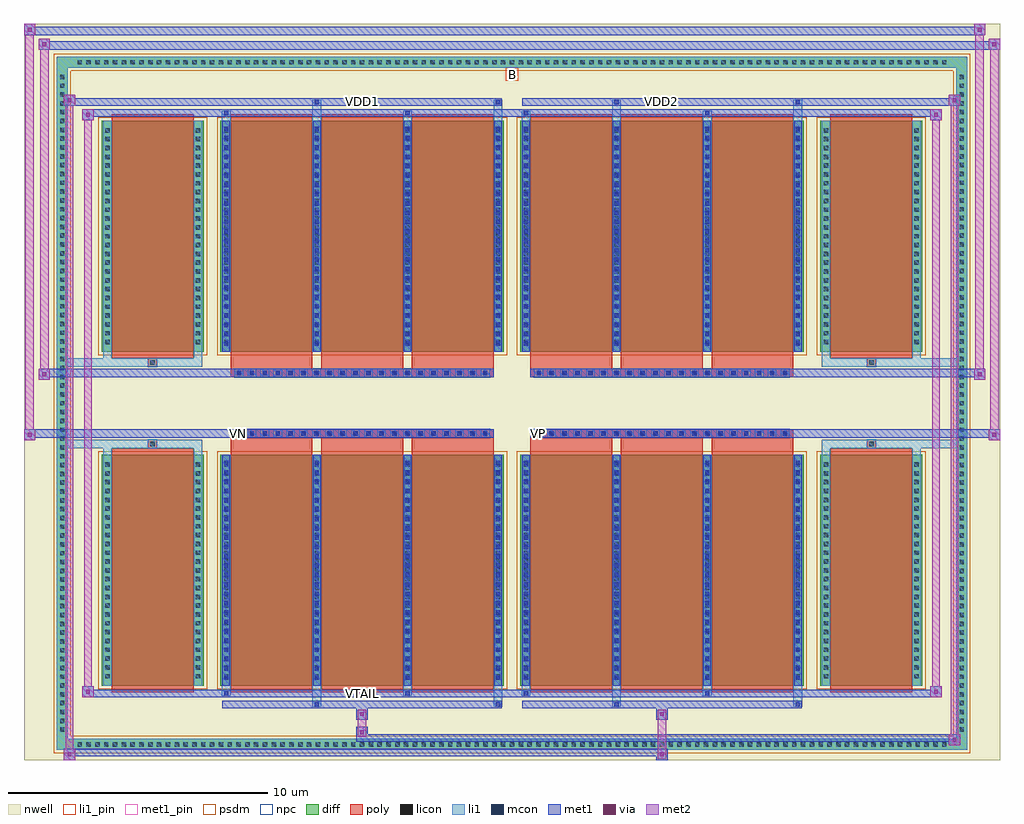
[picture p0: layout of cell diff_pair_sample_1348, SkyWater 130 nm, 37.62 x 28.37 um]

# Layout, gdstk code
import gdstk
lib = gdstk.Library(unit=1e-6, precision=5e-09)
def R(c, l, rs):  # rectangles x0, y0, x1, y1
    for r in rs: c.add(gdstk.rectangle(r[:2], r[2:], *l))
def A(c, l, x, y, w, h, nx, ny, dx, dy):  # array of equal rectangles
    R(c, l, [(x+i*dx, y+j*dy, x+i*dx+w, y+j*dy+h) for i in range(nx) for j in range(ny)])
def P(c, l, *ps):  # polygons
    for p in ps: c.add(gdstk.Polygon(p, *l))
nwell = (64, 20)
diff = (65, 20)
poly = (66, 20)
licon = (66, 44)
li1_pin = (67, 16)
li1 = (67, 20)
mcon = (67, 44)
met1_pin = (68, 16)
met1 = (68, 20)
via = (68, 44)
met2 = (69, 20)
psdm = (94, 20)
npc = (95, 20)

diff_pair_sample_1348 = lib.new_cell('diff_pair_sample_1348')
R(diff_pair_sample_1348, nwell, [(-18.81,-13.75,18.81,14.62), (-16.13,-11.94,-0.01,-0.8), (0.01,-11.94,16.13,-0.8), (-16.13,0.8,-0.01,11.94), (0.01,0.8,16.13,11.94)])
A(diff_pair_sample_1348, diff, -16.865, -13.35, 0.41, 0.41, 99, 2, 0.34, 26.29)
A(diff_pair_sample_1348, diff, -17.54, -12.785, 0.41, 0.41, 1, 75, 0, 0.34)
A(diff_pair_sample_1348, diff, 17.13, -12.785, 0.41, 0.41, 1, 75, 0, 0.34)
R(diff_pair_sample_1348, diff, [(-16.865,-13.35,16.865,-12.94), (-17.54,-12.785,-17.13,12.785), (17.13,-12.785,17.54,12.785), (-15.82,-10.895,-11.88,-1.985), (-11.24,-10.895,-0.32,-1.985), (0.32,-10.895,11.24,-1.985), (11.88,-10.895,15.82,-1.985), (-15.82,1.985,-11.88,10.895), (-11.24,1.985,-0.32,10.895), (0.32,1.985,11.24,10.895), (11.88,1.985,15.82,10.895), (-16.865,12.94,16.865,13.35)])
P(diff_pair_sample_1348, diff, [(17.54,13.35),(-17.54,13.35),(-17.54,-12.94),(-17.13,-12.94),(-17.13,12.94),(17.13,12.94),(17.13,-12.94),(-17.13,-12.94),(-17.54,-12.94),(-17.54,-13.35),(17.54,-13.35)])
A(diff_pair_sample_1348, poly, -10.85, -11.145, 3.16, 9.41, 3, 2, 3.49, 12.88)
A(diff_pair_sample_1348, poly, 0.71, -11.145, 3.16, 9.41, 3, 2, 3.49, 12.88)
A(diff_pair_sample_1348, poly, -10.85, -1.735, 3.16, 0.405, 3, 2, 3.49, 3.065)
A(diff_pair_sample_1348, poly, 0.71, -1.735, 3.16, 0.405, 3, 2, 3.49, 3.065)
A(diff_pair_sample_1348, poly, -10.695, -1.33, 0.33, 0.33, 20, 2, 0.5, 2.33)
A(diff_pair_sample_1348, poly, 0.865, -1.33, 0.33, 0.33, 20, 2, 0.5, 2.33)
R(diff_pair_sample_1348, poly, [(-15.43,-11.145,-12.27,-1.735), (12.27,-11.145,15.43,-1.735), (-14.015,-1.735,-13.685,-1.405), (-14.015,-1.735,-13.685,-1.405), (13.685,-1.735,14.015,-1.405), (13.685,-1.735,14.015,-1.405), (-10.85,-1.33,-0.71,-1), (0.71,-1.33,10.85,-1), (-10.85,1,-0.71,1.33), (0.71,1,10.85,1.33), (-14.015,1.405,-13.685,1.735), (-14.015,1.405,-13.685,1.735), (13.685,1.405,14.015,1.735), (13.685,1.405,14.015,1.735), (-15.43,1.735,-12.27,11.145), (12.27,1.735,15.43,11.145)])
A(diff_pair_sample_1348, licon, -16.745, -13.23, 0.17, 0.17, 99, 2, 0.34, 26.29)
A(diff_pair_sample_1348, licon, -17.42, -12.665, 0.17, 0.17, 1, 75, 0, 0.34)
A(diff_pair_sample_1348, licon, 17.25, -12.665, 0.17, 0.17, 1, 75, 0, 0.34)
A(diff_pair_sample_1348, licon, -15.68, -10.605, 0.17, 0.17, 1, 25, 0, 0.34)
A(diff_pair_sample_1348, licon, -12.19, -10.605, 0.17, 0.17, 1, 25, 0, 0.34)
A(diff_pair_sample_1348, licon, -11.1, -10.605, 0.17, 0.17, 4, 25, 3.49, 0.34)
A(diff_pair_sample_1348, licon, 0.46, -10.605, 0.17, 0.17, 4, 25, 3.49, 0.34)
A(diff_pair_sample_1348, licon, 12.02, -10.605, 0.17, 0.17, 1, 25, 0, 0.34)
A(diff_pair_sample_1348, licon, 15.51, -10.605, 0.17, 0.17, 1, 25, 0, 0.34)
A(diff_pair_sample_1348, licon, -10.615, -1.25, 0.17, 0.17, 20, 2, 0.5, 2.33)
A(diff_pair_sample_1348, licon, 0.945, -1.25, 0.17, 0.17, 20, 2, 0.5, 2.33)
A(diff_pair_sample_1348, licon, -15.68, 2.275, 0.17, 0.17, 1, 25, 0, 0.34)
A(diff_pair_sample_1348, licon, -12.19, 2.275, 0.17, 0.17, 1, 25, 0, 0.34)
A(diff_pair_sample_1348, licon, -11.1, 2.275, 0.17, 0.17, 4, 25, 3.49, 0.34)
A(diff_pair_sample_1348, licon, 0.46, 2.275, 0.17, 0.17, 4, 25, 3.49, 0.34)
A(diff_pair_sample_1348, licon, 12.02, 2.275, 0.17, 0.17, 1, 25, 0, 0.34)
A(diff_pair_sample_1348, licon, 15.51, 2.275, 0.17, 0.17, 1, 25, 0, 0.34)
R(diff_pair_sample_1348, licon, [(-13.935,-1.655,-13.765,-1.485), (13.765,-1.655,13.935,-1.485), (-13.935,1.485,-13.765,1.655), (13.765,1.485,13.935,1.655)])
R(diff_pair_sample_1348, li1_pin, [(-0.25,12.44,0.25,12.94)])
A(diff_pair_sample_1348, li1, -16.825, -13.31, 0.33, 0.33, 99, 2, 0.34, 26.29)
A(diff_pair_sample_1348, li1, -17.5, -12.745, 0.33, 0.33, 1, 75, 0, 0.34)
A(diff_pair_sample_1348, li1, 17.17, -12.745, 0.33, 0.33, 1, 75, 0, 0.34)
A(diff_pair_sample_1348, li1, -11.18, -10.895, 0.33, 8.91, 4, 2, 3.49, 12.88)
A(diff_pair_sample_1348, li1, 0.38, -10.895, 0.33, 8.91, 4, 2, 3.49, 12.88)
A(diff_pair_sample_1348, li1, -15.76, -10.685, 0.33, 0.33, 1, 25, 0, 0.34)
A(diff_pair_sample_1348, li1, -12.27, -10.685, 0.33, 0.33, 1, 25, 0, 0.34)
A(diff_pair_sample_1348, li1, -11.18, -10.685, 0.33, 0.33, 4, 25, 3.49, 0.34)
A(diff_pair_sample_1348, li1, 0.38, -10.685, 0.33, 0.33, 4, 25, 3.49, 0.34)
A(diff_pair_sample_1348, li1, 11.94, -10.685, 0.33, 0.33, 1, 25, 0, 0.34)
A(diff_pair_sample_1348, li1, 15.43, -10.685, 0.33, 0.33, 1, 25, 0, 0.34)
A(diff_pair_sample_1348, li1, -11.1, -10.665, 0.17, 0.17, 4, 24, 3.49, 0.36)
A(diff_pair_sample_1348, li1, -11.1, -10.665, 0.17, 8.45, 4, 2, 3.49, 12.88)
A(diff_pair_sample_1348, li1, 0.46, -10.665, 0.17, 0.17, 4, 24, 3.49, 0.36)
A(diff_pair_sample_1348, li1, 0.46, -10.665, 0.17, 8.45, 4, 2, 3.49, 12.88)
A(diff_pair_sample_1348, li1, -10.695, -1.33, 0.33, 0.33, 20, 2, 0.5, 2.33)
A(diff_pair_sample_1348, li1, 0.865, -1.33, 0.33, 0.33, 20, 2, 0.5, 2.33)
A(diff_pair_sample_1348, li1, -15.76, 2.195, 0.33, 0.33, 1, 25, 0, 0.34)
A(diff_pair_sample_1348, li1, -12.27, 2.195, 0.33, 0.33, 1, 25, 0, 0.34)
A(diff_pair_sample_1348, li1, -11.18, 2.195, 0.33, 0.33, 4, 25, 3.49, 0.34)
A(diff_pair_sample_1348, li1, 0.38, 2.195, 0.33, 0.33, 4, 25, 3.49, 0.34)
A(diff_pair_sample_1348, li1, 11.94, 2.195, 0.33, 0.33, 1, 25, 0, 0.34)
A(diff_pair_sample_1348, li1, 15.43, 2.195, 0.33, 0.33, 1, 25, 0, 0.34)
A(diff_pair_sample_1348, li1, -11.1, 2.215, 0.17, 0.17, 4, 24, 3.49, 0.36)
A(diff_pair_sample_1348, li1, 0.46, 2.215, 0.17, 0.17, 4, 24, 3.49, 0.36)
R(diff_pair_sample_1348, li1, [(-17.54,-13.35,-17.13,-12.94), (-17.54,-13.35,-17.13,-12.94), (-17.13,-13.35,17.13,-12.94), (17.13,-13.35,17.54,-12.94), (17.13,-13.35,17.54,-12.94), (-17.54,-12.94,-17.13,12.94), (17.13,-12.94,17.54,12.94), (-7.69,-11.7,-7.36,-10.895), (-7.61,-11.7,-7.44,-11.53), (-0.71,-11.7,-0.38,-10.895), (-0.63,-11.7,-0.46,-11.53), (3.87,-11.7,4.2,-10.895), (3.95,-11.7,4.12,-11.53), (10.85,-11.7,11.18,-10.895), (10.93,-11.7,11.1,-11.53), (-11.18,-11.27,-10.85,-10.895), (-11.1,-11.27,-10.93,-11.1), (-4.2,-11.27,-3.87,-10.895), (-4.12,-11.27,-3.95,-11.1), (0.38,-11.27,0.71,-10.895), (0.46,-11.27,0.63,-11.1), (7.36,-11.27,7.69,-10.895), (7.44,-11.27,7.61,-11.1), (-15.76,-10.895,-15.43,-1.985), (-12.27,-10.895,-11.94,-1.985), (11.94,-10.895,12.27,-1.985), (15.43,-10.895,15.76,-1.985), (-15.76,-1.985,-15.43,-1.405), (-12.27,-1.985,-11.94,-1.405), (11.94,-1.985,12.27,-1.405), (15.43,-1.985,15.76,-1.405), (-17.54,-1.735,-14.015,-1.405), (-15.76,-1.735,-14.015,-1.405), (-14.015,-1.735,-13.685,-1.405), (-13.685,-1.735,-11.94,-1.405), (11.94,-1.735,13.685,-1.405), (13.685,-1.735,14.015,-1.405), (13.685,-1.735,17.54,-1.405), (14.015,-1.735,15.76,-1.405), (-17.54,1.405,-14.015,1.735), (-15.76,1.405,-14.015,1.735), (-15.76,1.405,-15.43,1.985), (-14.015,1.405,-13.685,1.735), (-13.685,1.405,-11.94,1.735), (-12.27,1.405,-11.94,1.985), (11.94,1.405,13.685,1.735), (11.94,1.405,12.27,1.985), (13.685,1.405,14.015,1.735), (13.685,1.405,17.54,1.735), (14.015,1.405,15.76,1.735), (15.43,1.405,15.76,1.985), (-15.76,1.985,-15.43,10.895), (-12.27,1.985,-11.94,10.895), (11.94,1.985,12.27,10.895), (15.43,1.985,15.76,10.895), (-11.18,10.895,-10.85,11.27), (-7.69,10.895,-7.36,11.7), (-4.2,10.895,-3.87,11.27), (-0.71,10.895,-0.38,11.7), (0.38,10.895,0.71,11.27), (3.87,10.895,4.2,11.7), (7.36,10.895,7.69,11.27), (10.85,10.895,11.18,11.7), (-11.1,11.1,-10.93,11.27), (-4.12,11.1,-3.95,11.27), (0.46,11.1,0.63,11.27), (7.44,11.1,7.61,11.27), (-7.61,11.53,-7.44,11.7), (-0.63,11.53,-0.46,11.7), (3.95,11.53,4.12,11.7), (10.93,11.53,11.1,11.7), (-17.54,12.94,-17.13,13.35), (-17.54,12.94,-17.13,13.35), (-17.13,12.94,17.13,13.35), (17.13,12.94,17.54,13.35), (17.13,12.94,17.54,13.35)])
A(diff_pair_sample_1348, mcon, -11.1, -10.665, 0.17, 0.17, 4, 24, 3.49, 0.36)
A(diff_pair_sample_1348, mcon, 0.46, -10.665, 0.17, 0.17, 4, 24, 3.49, 0.36)
A(diff_pair_sample_1348, mcon, -10.615, -1.25, 0.17, 0.17, 20, 2, 0.5, 2.33)
A(diff_pair_sample_1348, mcon, 0.945, -1.25, 0.17, 0.17, 20, 2, 0.5, 2.33)
A(diff_pair_sample_1348, mcon, -11.1, 2.215, 0.17, 0.17, 4, 24, 3.49, 0.36)
A(diff_pair_sample_1348, mcon, 0.46, 2.215, 0.17, 0.17, 4, 24, 3.49, 0.36)
R(diff_pair_sample_1348, mcon, [(-7.61,-11.7,-7.44,-11.53), (-0.63,-11.7,-0.46,-11.53), (3.95,-11.7,4.12,-11.53), (10.93,-11.7,11.1,-11.53), (-11.1,-11.27,-10.93,-11.1), (-4.12,-11.27,-3.95,-11.1), (0.46,-11.27,0.63,-11.1), (7.44,-11.27,7.61,-11.1), (-11.1,11.1,-10.93,11.27), (-4.12,11.1,-3.95,11.27), (0.46,11.1,0.63,11.27), (7.44,11.1,7.61,11.27), (-7.61,11.53,-7.44,11.7), (-0.63,11.53,-0.46,11.7), (3.95,11.53,4.12,11.7), (10.93,11.53,11.1,11.7)])
R(diff_pair_sample_1348, met1_pin, [(-5.915,-11.31,-5.645,-11.04), (-10.665,-1.29,-10.395,-1.02), (0.895,-1.29,1.165,-1.02), (-5.915,11.49,-5.645,11.76), (5.645,11.49,5.915,11.76)])
A(diff_pair_sample_1348, met1, -11.16, -10.895, 0.29, 8.91, 4, 2, 3.49, 12.88)
A(diff_pair_sample_1348, met1, 0.4, -10.895, 0.29, 8.91, 4, 2, 3.49, 12.88)
A(diff_pair_sample_1348, met1, -11.16, -10.725, 0.29, 0.29, 4, 24, 3.49, 0.36)
A(diff_pair_sample_1348, met1, 0.4, -10.725, 0.29, 0.29, 4, 24, 3.49, 0.36)
A(diff_pair_sample_1348, met1, -10.675, -1.31, 0.29, 0.29, 20, 2, 0.5, 2.33)
A(diff_pair_sample_1348, met1, 0.885, -1.31, 0.29, 0.29, 20, 2, 0.5, 2.33)
A(diff_pair_sample_1348, met1, -11.16, 2.155, 0.29, 0.29, 4, 24, 3.49, 0.36)
A(diff_pair_sample_1348, met1, 0.4, 2.155, 0.29, 0.29, 4, 24, 3.49, 0.36)
R(diff_pair_sample_1348, met1, [(-17.27,-13.75,-16.84,-13.32), (5.565,-13.75,5.995,-13.32), (-17.27,-13.61,5.995,-13.32), (16.84,-13.18,17.27,-12.75), (-5.995,-13.04,17.27,-12.75), (-5.995,-12.9,-5.565,-12.47), (-5.995,-12.19,-5.565,-11.76), (5.565,-12.19,5.995,-11.76), (-11.16,-11.76,-0.4,-11.47), (-7.67,-11.76,-7.38,-11.47), (-0.69,-11.76,-0.4,-11.47), (0.4,-11.76,11.16,-11.47), (3.89,-11.76,4.18,-11.47), (10.87,-11.76,11.16,-11.47), (-16.56,-11.33,-16.13,-10.9), (-16.56,-11.33,-11.16,-11.04), (-11.16,-11.33,-10.87,-11.04), (-11.16,-11.33,-0.4,-11.04), (-4.18,-11.33,-3.89,-11.04), (-0.4,-11.33,0.4,-11.04), (0.4,-11.33,0.69,-11.04), (0.4,-11.33,11.16,-11.04), (7.38,-11.33,7.67,-11.04), (11.16,-11.33,16.56,-11.04), (16.13,-11.33,16.56,-10.9), (-18.81,-1.43,-18.38,-1), (18.38,-1.43,18.81,-1), (-18.81,-1.33,-0.71,-1), (-10.85,-1.33,-0.71,-1), (0.71,-1.33,10.85,-1), (0.71,-1.33,18.81,-1), (-18.24,0.9,-17.81,1.33), (17.81,0.9,18.24,1.33), (-18.24,1,-10.85,1.33), (-10.85,1,-0.71,1.33), (0.71,1,10.85,1.33), (10.85,1,18.24,1.33), (-16.56,10.9,-16.13,11.33), (16.13,10.9,16.56,11.33), (-16.56,11.04,-11.16,11.33), (-11.16,11.04,-10.87,11.33), (-11.16,11.04,-0.4,11.33), (-4.18,11.04,-3.89,11.33), (-0.4,11.04,0.4,11.33), (0.4,11.04,0.69,11.33), (0.4,11.04,11.16,11.33), (7.38,11.04,7.67,11.33), (11.16,11.04,16.56,11.33), (-17.27,11.47,-16.84,11.9), (-17.27,11.47,-11.16,11.76), (-11.16,11.47,-0.4,11.76), (-7.67,11.47,-7.38,11.76), (-0.69,11.47,-0.4,11.76), (0.4,11.47,11.16,11.76), (3.89,11.47,4.18,11.76), (10.87,11.47,11.16,11.76), (11.16,11.47,17.27,11.76), (16.84,11.47,17.27,11.9), (-18.24,13.62,-17.81,14.05), (-18.24,13.62,-16.13,13.95), (-16.13,13.62,16.13,13.95), (16.13,13.62,18.81,13.95), (18.38,13.62,18.81,14.05), (-18.81,14.19,-18.38,14.62), (-18.81,14.19,-16.13,14.52), (-16.13,14.19,16.13,14.52), (16.13,14.19,18.24,14.52), (17.81,14.19,18.24,14.62)])
R(diff_pair_sample_1348, via, [(-17.13,-13.61,-16.98,-13.46), (5.705,-13.61,5.855,-13.46), (16.98,-13.04,17.13,-12.89), (-5.855,-12.76,-5.705,-12.61), (-5.855,-12.05,-5.705,-11.9), (5.705,-12.05,5.855,-11.9), (-16.42,-11.19,-16.27,-11.04), (16.27,-11.19,16.42,-11.04), (-18.67,-1.29,-18.52,-1.14), (18.52,-1.29,18.67,-1.14), (-18.1,1.04,-17.95,1.19), (17.95,1.04,18.1,1.19), (-16.42,11.04,-16.27,11.19), (16.27,11.04,16.42,11.19), (-17.13,11.61,-16.98,11.76), (16.98,11.61,17.13,11.76), (-18.1,13.76,-17.95,13.91), (18.52,13.76,18.67,13.91), (-18.67,14.33,-18.52,14.48), (17.95,14.33,18.1,14.48)])
R(diff_pair_sample_1348, met2, [(-17.27,-13.75,-16.84,-13.32), (-17.2,-13.75,-16.91,11.9), (-16.91,-13.75,-16.84,-13.32), (-17.22,-13.7,-16.89,-13.37), (5.615,-13.7,5.945,-13.37), (5.615,-13.37,5.945,-12.14), (16.84,-13.18,17.27,-12.75), (16.91,-13.18,17.2,11.9), (17.2,-13.18,17.27,-12.75), (16.89,-13.13,17.22,-12.8), (-5.945,-12.85,-5.615,-12.52), (-5.945,-12.52,-5.615,-12.14), (-5.945,-12.14,-5.615,-11.81), (5.615,-12.14,5.945,-11.81), (-16.56,-11.33,-16.13,-10.9), (-16.49,-11.33,-16.2,11.33), (-16.2,-11.33,-16.13,-10.9), (16.13,-11.33,16.56,-10.9), (16.2,-11.33,16.49,11.33), (16.49,-11.33,16.56,-10.9), (-16.51,-11.28,-16.18,-10.95), (16.18,-11.28,16.51,-10.95), (-18.81,-1.43,-18.38,-1), (-18.76,-1.43,-18.43,14.62), (-18.43,-1.43,-18.38,-1), (18.38,-1.43,18.81,-1), (18.43,-1.43,18.76,14.05), (18.76,-1.43,18.81,-1), (-18.76,-1.38,-18.43,-1.05), (18.43,-1.38,18.76,-1.05), (-18.24,0.9,-17.81,1.33), (-18.19,0.9,-17.86,14.05), (-17.86,0.9,-17.81,1.33), (17.81,0.9,18.24,1.33), (17.86,0.9,18.19,14.62), (18.19,0.9,18.24,1.33), (-18.19,0.95,-17.86,1.28), (17.86,0.95,18.19,1.28), (-16.56,10.9,-16.13,11.33), (-16.2,10.9,-16.13,11.33), (16.13,10.9,16.56,11.33), (16.49,10.9,16.56,11.33), (-16.51,10.95,-16.18,11.28), (16.18,10.95,16.51,11.28), (-17.27,11.47,-16.84,11.9), (-16.91,11.47,-16.84,11.9), (16.84,11.47,17.27,11.9), (17.2,11.47,17.27,11.9), (-17.22,11.52,-16.89,11.85), (16.89,11.52,17.22,11.85), (-18.24,13.62,-17.81,14.05), (-17.86,13.62,-17.81,14.05), (18.38,13.62,18.81,14.05), (18.76,13.62,18.81,14.05), (-18.19,13.67,-17.86,14), (18.43,13.67,18.76,14), (-18.81,14.19,-18.38,14.62), (-18.43,14.19,-18.38,14.62), (17.81,14.19,18.24,14.62), (18.19,14.19,18.24,14.62), (-18.76,14.24,-18.43,14.57), (17.86,14.24,18.19,14.57)])
R(diff_pair_sample_1348, psdm, [(-15.95,-11.025,-11.75,-1.855), (-11.37,-11.025,-0.19,-1.855), (0.19,-11.025,11.37,-1.855), (11.75,-11.025,15.95,-1.855), (-15.95,1.855,-11.75,11.025), (-11.37,1.855,-0.19,11.025), (0.19,1.855,11.37,11.025), (11.75,1.855,15.95,11.025)])
P(diff_pair_sample_1348, psdm, [(17.67,13.48),(-17.67,13.48),(-17.67,-12.81),(-17,-12.81),(-17,12.81),(17,12.81),(17,-12.81),(-17,-12.81),(-17.67,-12.81),(-17.67,-13.48),(17.67,-13.48)])
A(diff_pair_sample_1348, npc, -10.715, -1.35, 0.37, 0.37, 20, 2, 0.5, 2.33)
A(diff_pair_sample_1348, npc, 0.845, -1.35, 0.37, 0.37, 20, 2, 0.5, 2.33)
R(diff_pair_sample_1348, npc, [(-14.035,-1.755,-13.665,-1.385), (13.665,-1.755,14.035,-1.385), (-10.715,-1.35,-9.845,-0.98), (-10.715,-1.35,-9.845,-0.98), (-10.215,-1.35,-9.345,-0.98), (-10.215,-1.35,-9.345,-0.98), (-9.715,-1.35,-8.845,-0.98), (-9.715,-1.35,-8.845,-0.98), (-9.215,-1.35,-8.345,-0.98), (-9.215,-1.35,-8.345,-0.98), (-8.715,-1.35,-7.845,-0.98), (-8.715,-1.35,-7.845,-0.98), (-8.215,-1.35,-7.345,-0.98), (-8.215,-1.35,-7.345,-0.98), (-7.715,-1.35,-6.845,-0.98), (-7.715,-1.35,-6.845,-0.98), (-7.215,-1.35,-6.345,-0.98), (-7.215,-1.35,-6.345,-0.98), (-6.715,-1.35,-5.845,-0.98), (-6.715,-1.35,-5.845,-0.98), (-6.215,-1.35,-5.345,-0.98), (-6.215,-1.35,-5.345,-0.98), (-5.715,-1.35,-4.845,-0.98), (-5.715,-1.35,-4.845,-0.98), (-5.215,-1.35,-4.345,-0.98), (-5.215,-1.35,-4.345,-0.98), (-4.715,-1.35,-3.845,-0.98), (-4.715,-1.35,-3.845,-0.98), (-4.215,-1.35,-3.345,-0.98), (-4.215,-1.35,-3.345,-0.98), (-3.715,-1.35,-2.845,-0.98), (-3.715,-1.35,-2.845,-0.98), (-3.215,-1.35,-2.345,-0.98), (-3.215,-1.35,-2.345,-0.98), (-2.715,-1.35,-1.845,-0.98), (-2.715,-1.35,-1.845,-0.98), (-2.215,-1.35,-1.345,-0.98), (-2.215,-1.35,-1.345,-0.98), (-1.715,-1.35,-0.845,-0.98), (-1.715,-1.35,-0.845,-0.98), (0.845,-1.35,1.715,-0.98), (0.845,-1.35,1.715,-0.98), (1.345,-1.35,2.215,-0.98), (1.345,-1.35,2.215,-0.98), (1.845,-1.35,2.715,-0.98), (1.845,-1.35,2.715,-0.98), (2.345,-1.35,3.215,-0.98), (2.345,-1.35,3.215,-0.98), (2.845,-1.35,3.715,-0.98), (2.845,-1.35,3.715,-0.98), (3.345,-1.35,4.215,-0.98), (3.345,-1.35,4.215,-0.98), (3.845,-1.35,4.715,-0.98), (3.845,-1.35,4.715,-0.98), (4.345,-1.35,5.215,-0.98), (4.345,-1.35,5.215,-0.98), (4.845,-1.35,5.715,-0.98), (4.845,-1.35,5.715,-0.98), (5.345,-1.35,6.215,-0.98), (5.345,-1.35,6.215,-0.98), (5.845,-1.35,6.715,-0.98), (5.845,-1.35,6.715,-0.98), (6.345,-1.35,7.215,-0.98), (6.345,-1.35,7.215,-0.98), (6.845,-1.35,7.715,-0.98), (6.845,-1.35,7.715,-0.98), (7.345,-1.35,8.215,-0.98), (7.345,-1.35,8.215,-0.98), (7.845,-1.35,8.715,-0.98), (7.845,-1.35,8.715,-0.98), (8.345,-1.35,9.215,-0.98), (8.345,-1.35,9.215,-0.98), (8.845,-1.35,9.715,-0.98), (8.845,-1.35,9.715,-0.98), (9.345,-1.35,10.215,-0.98), (9.345,-1.35,10.215,-0.98), (9.845,-1.35,10.715,-0.98), (9.845,-1.35,10.715,-0.98), (-10.715,0.98,-9.845,1.35), (-10.715,0.98,-9.845,1.35), (-10.215,0.98,-9.345,1.35), (-10.215,0.98,-9.345,1.35), (-9.715,0.98,-8.845,1.35), (-9.715,0.98,-8.845,1.35), (-9.215,0.98,-8.345,1.35), (-9.215,0.98,-8.345,1.35), (-8.715,0.98,-7.845,1.35), (-8.715,0.98,-7.845,1.35), (-8.215,0.98,-7.345,1.35), (-8.215,0.98,-7.345,1.35), (-7.715,0.98,-6.845,1.35), (-7.715,0.98,-6.845,1.35), (-7.215,0.98,-6.345,1.35), (-7.215,0.98,-6.345,1.35), (-6.715,0.98,-5.845,1.35), (-6.715,0.98,-5.845,1.35), (-6.215,0.98,-5.345,1.35), (-6.215,0.98,-5.345,1.35), (-5.715,0.98,-4.845,1.35), (-5.715,0.98,-4.845,1.35), (-5.215,0.98,-4.345,1.35), (-5.215,0.98,-4.345,1.35), (-4.715,0.98,-3.845,1.35), (-4.715,0.98,-3.845,1.35), (-4.215,0.98,-3.345,1.35), (-4.215,0.98,-3.345,1.35), (-3.715,0.98,-2.845,1.35), (-3.715,0.98,-2.845,1.35), (-3.215,0.98,-2.345,1.35), (-3.215,0.98,-2.345,1.35), (-2.715,0.98,-1.845,1.35), (-2.715,0.98,-1.845,1.35), (-2.215,0.98,-1.345,1.35), (-2.215,0.98,-1.345,1.35), (-1.715,0.98,-0.845,1.35), (-1.715,0.98,-0.845,1.35), (0.845,0.98,1.715,1.35), (0.845,0.98,1.715,1.35), (1.345,0.98,2.215,1.35), (1.345,0.98,2.215,1.35), (1.845,0.98,2.715,1.35), (1.845,0.98,2.715,1.35), (2.345,0.98,3.215,1.35), (2.345,0.98,3.215,1.35), (2.845,0.98,3.715,1.35), (2.845,0.98,3.715,1.35), (3.345,0.98,4.215,1.35), (3.345,0.98,4.215,1.35), (3.845,0.98,4.715,1.35), (3.845,0.98,4.715,1.35), (4.345,0.98,5.215,1.35), (4.345,0.98,5.215,1.35), (4.845,0.98,5.715,1.35), (4.845,0.98,5.715,1.35), (5.345,0.98,6.215,1.35), (5.345,0.98,6.215,1.35), (5.845,0.98,6.715,1.35), (5.845,0.98,6.715,1.35), (6.345,0.98,7.215,1.35), (6.345,0.98,7.215,1.35), (6.845,0.98,7.715,1.35), (6.845,0.98,7.715,1.35), (7.345,0.98,8.215,1.35), (7.345,0.98,8.215,1.35), (7.845,0.98,8.715,1.35), (7.845,0.98,8.715,1.35), (8.345,0.98,9.215,1.35), (8.345,0.98,9.215,1.35), (8.845,0.98,9.715,1.35), (8.845,0.98,9.715,1.35), (9.345,0.98,10.215,1.35), (9.345,0.98,10.215,1.35), (9.845,0.98,10.715,1.35), (9.845,0.98,10.715,1.35), (-14.035,1.385,-13.665,1.755), (13.665,1.385,14.035,1.755)])
diff_pair_sample_1348.add(gdstk.Label('VTAIL', (-5.78,-11.175), layer=68, texttype=5))
diff_pair_sample_1348.add(gdstk.Label('VN', (-10.53,-1.155), layer=68, texttype=5))
diff_pair_sample_1348.add(gdstk.Label('VP', (1.03,-1.155), layer=68, texttype=5))
diff_pair_sample_1348.add(gdstk.Label('B', (0,12.69), layer=67, texttype=5))
diff_pair_sample_1348.add(gdstk.Label('VDD2', (5.78,11.625), layer=68, texttype=5))
diff_pair_sample_1348.add(gdstk.Label('VDD1', (-5.78,11.625), layer=68, texttype=5))

lib.write_gds('diff_pair_sample_1348.gds')
